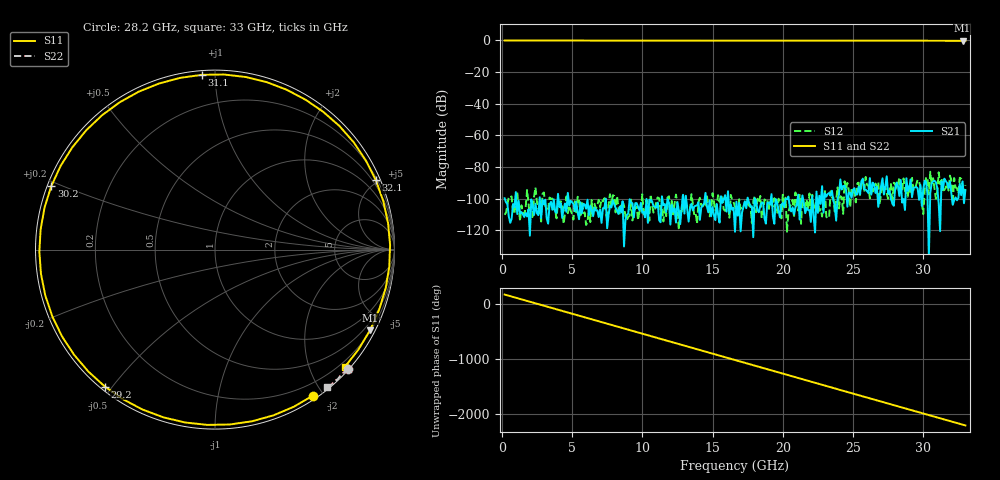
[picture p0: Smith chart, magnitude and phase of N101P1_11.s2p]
# GHZ S RI R 50
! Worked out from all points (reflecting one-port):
!   329 points, 200 MHz to 33 GHz, reference 50 ohm
!   lowest |S11| = -0.2 dB at 32.8 GHz (marker M1), VSWR 74.93, Z = 11.8 - j204 ohm
!   phase of S11 starts at 165 deg and turns -2368 deg over the sweep
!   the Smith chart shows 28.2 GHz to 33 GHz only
!   S11 on the Smith chart (normalised r, x): 28.2 GHz: 0.05, -1.88; 29.2 GHz: 0.01, -0.48; 30.2 GHz: 0.01, +0.19; 31.1 GHz: 0.02, +0.93; 32.1 GHz: 0.30, +4.83; 33 GHz: 0.10, -2.60
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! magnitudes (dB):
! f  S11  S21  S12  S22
! 200 MHz  0.0  -99.7  -110.2  0.0
! 5.7 GHz  -0.1  -109.1  -101.5  0.0
! 8.8 GHz  -0.1  -113.6  -111.3  0.0
! 11.2 GHz  -0.1  -113.6  -99.8  0.0
! 16.6 GHz  -0.1  -120.9  -104.9  0.0
! 18.5 GHz  -0.1  -102.4  -112.2  0.0
! 20.7 GHz  -0.1  -105.5  -100.7  -0.1
! 22.1 GHz  -0.2  -98.2  -97.5  0.0
! 22.6 GHz  -0.2  -98.1  -107.7  0.0
! 23.5 GHz  -0.2  -95.0  -99.4  0.0
! 23.9 GHz  -0.1  -100.1  -92.9  0.1
! 24.3 GHz  -0.2  -92.0  -109.6  0.0
! 25.3 GHz  -0.1  -97.3  -90.5  -0.1
! 26.7 GHz  -0.2  -92.4  -92.7  0.0
! 27.6 GHz  -0.2  -95.1  -94.9  0.0
! 28.2 GHz  -0.2  -92.1  -90.8  0.0
! 29.2 GHz  -0.2  -99.1  -86.9  -0.1
! 30.2 GHz  -0.2  -89.2  -86.3  -0.1
! 31.1 GHz  -0.2  -103.0  -83.3  -0.1
! 32.1 GHz  -0.2  -103.9  -103.2  -0.1
! 32.8 GHz  -0.2  -89.1  -91.0  -0.1
! 33 GHz  -0.2  -94.6  -91.3  -0.1
